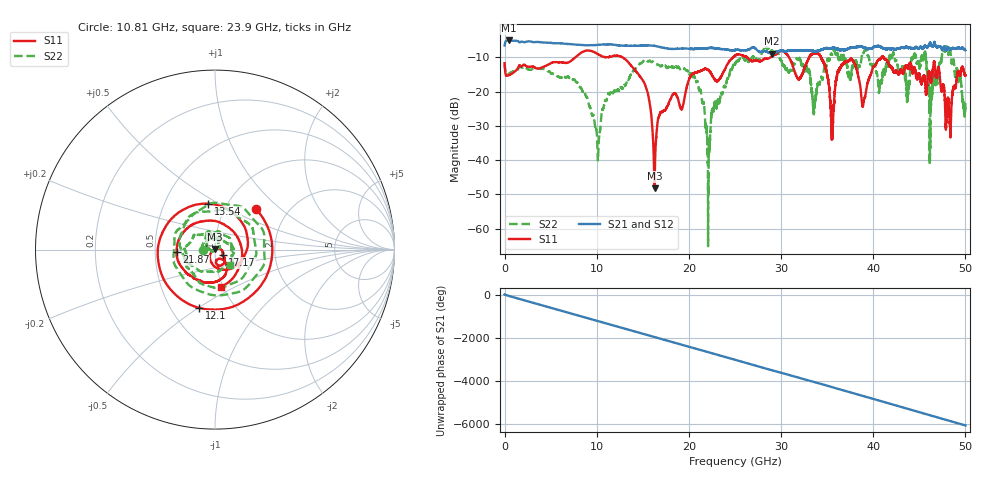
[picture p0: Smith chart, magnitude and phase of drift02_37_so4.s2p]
!Created with skrf (http://scikit-rf.org).
# Hz S RI R 50.0
!freq ReS11 ImS11 ReS21 ImS21 ReS12 ImS12 ReS22 ImS22
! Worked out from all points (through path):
!   10001 points, 300 kHz to 50 GHz, reference 50 ohm
!   highest |S21| = -5.04 dB at 430.3 MHz (marker M1); lowest = -8.9 dB at 28.98 GHz (marker M2)
!   group delay of S21, straight-line fit = 336 ps
!   lowest |S11| = -48.2 dB at 16.27 GHz (marker M3), VSWR 1.01, Z = 49.9 + j0.381 ohm
!   |S11| at or under -10 dB: start of sweep to 7.667 GHz; 12.82 GHz to 24.77 GHz (11.95 GHz wide, 63.6 % of centre); 41.13 GHz to end of sweep (the widest 3 of 8)
!   |S22| runs from -65.1 to -6.7 dB; largest |S21 - S12| = 0.026
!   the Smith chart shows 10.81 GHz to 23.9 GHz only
!   S11 on the Smith chart (normalised r, x): 10.81 GHz: 1.38, +0.70; 12.1 GHz: 0.69, -0.50; 13.54 GHz: 0.82, +0.45; 17.17 GHz: 1.09, -0.06; 21.87 GHz: 0.65, -0.02; 23.9 GHz: 0.97, -0.43
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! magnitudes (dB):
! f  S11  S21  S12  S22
! 300 kHz  -11.7  -6.5  -6.5  -11.7
! 430.3 MHz  -15.2  -5.0  -5.0  -14.9
! 8.335 GHz  -8.6  -6.4  -6.4  -19.1
! 10.11 GHz  -9.0  -6.3  -6.3  -38.7
! 10.81 GHz  -9.9  -6.2  -6.2  -23.6
! 12.1 GHz  -9.5  -6.4  -6.4  -20.4
! 13.54 GHz  -11.8  -6.6  -6.6  -16.0
! 16.27 GHz  -48.2  -6.7  -6.6  -11.7
! 16.67 GHz  -27.8  -6.8  -6.8  -12.2
! 17.17 GHz  -25.8  -7.1  -7.1  -12.6
! 20.73 GHz  -14.3  -7.5  -7.5  -16.9
! 21.87 GHz  -13.4  -7.3  -7.3  -30.1
! 23.9 GHz  -13.5  -7.6  -7.6  -18.5
! 25 GHz  -9.6  -7.9  -7.8  -11.9
! 28.98 GHz  -9.8  -8.9  -8.8  -8.0
! 33.34 GHz  -9.1  -8.0  -8.0  -20.1
! 35.54 GHz  -32.6  -7.3  -7.3  -9.2
! 36.8 GHz  -11.8  -7.8  -7.7  -10.0
! 41.67 GHz  -11.9  -7.4  -7.5  -11.7
! 46.25 GHz  -17.5  -6.1  -6.1  -21.4
! 48.12 GHz  -22.4  -7.2  -7.1  -9.0
! 50 GHz  -15.3  -7.9  -7.8  -23.2
